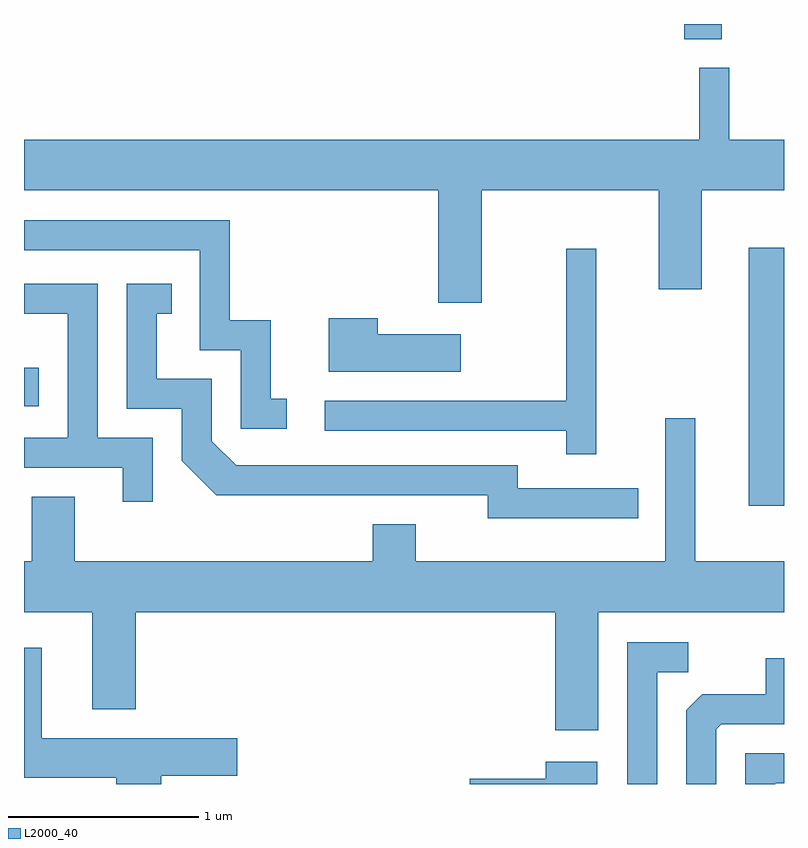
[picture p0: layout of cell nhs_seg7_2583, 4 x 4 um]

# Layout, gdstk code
import gdstk
lib = gdstk.Library(unit=1e-6, precision=1e-09)
def R(c, l, rs):  # rectangles x0, y0, x1, y1
    for r in rs: c.add(gdstk.rectangle(r[:2], r[2:], *l))
def P(c, l, *ps):  # polygons
    for p in ps: c.add(gdstk.Polygon(p, *l))
L2000_40 = (2000, 40)

nhs_seg7_2583 = lib.new_cell('nhs_seg7_2583')
R(nhs_seg7_2583, L2000_40, [(267.426,1763.716,267.611,1765.074), (263.611,1764.241,263.689,1764.444), (267.086,1766.171,267.284,1766.252)])
P(nhs_seg7_2583, L2000_40, [(266.019,1765.376),(266.951,1765.376),(266.951,1764.856),(267.179,1764.856),(267.179,1765.376),(267.611,1765.376),(267.611,1765.644),(267.324,1765.644),(267.324,1766.023),(267.166,1766.023),(267.166,1765.644),(263.611,1765.644),(263.611,1765.376),(265.791,1765.376),(265.791,1764.786),(266.019,1764.786)],
  [(264.993,1764.279),(264.909,1764.279),(264.909,1764.694),(264.694,1764.694),(264.694,1765.219),(263.611,1765.219),(263.611,1765.061),(264.536,1765.061),(264.536,1764.536),(264.751,1764.536),(264.751,1764.121),(264.993,1764.121)],
  [(266.624,1765.068),(266.466,1765.068),(266.466,1764.269),(265.193,1764.269),(265.193,1764.111),(266.466,1764.111),(266.466,1763.988),(266.624,1763.988)],
  [(266.843,1763.809),(266.209,1763.809),(266.209,1763.929),(264.727,1763.929),(264.599,1764.057),(264.599,1764.384),(264.309,1764.384),(264.309,1764.726),(264.388,1764.726),(264.388,1764.884),(264.151,1764.884),(264.151,1764.226),(264.441,1764.226),(264.441,1763.954),(264.624,1763.771),(266.051,1763.771),(266.051,1763.651),(266.843,1763.651)],
  [(264.289,1764.074),(263.999,1764.074),(263.999,1764.884),(263.611,1764.884),(263.611,1764.726),(263.841,1764.726),(263.841,1764.074),(263.611,1764.074),(263.611,1763.916),(264.131,1763.916),(264.131,1763.738),(264.289,1763.738)],
  [(265.909,1764.619),(265.474,1764.619),(265.474,1764.704),(265.216,1764.704),(265.216,1764.421),(265.909,1764.421)],
  [(266.634,1763.156),(267.611,1763.156),(267.611,1763.424),(267.144,1763.424),(267.144,1764.178),(266.986,1764.178),(266.986,1763.424),(265.674,1763.424),(265.674,1763.619),(265.446,1763.619),(265.446,1763.424),(263.879,1763.424),(263.879,1763.764),(263.651,1763.764),(263.651,1763.424),(263.611,1763.424),(263.611,1763.156),(263.971,1763.156),(263.971,1762.646),(264.199,1762.646),(264.199,1763.156),(266.406,1763.156),(266.406,1762.536),(266.634,1762.536)],
  [(266.944,1762.841),(267.108,1762.841),(267.108,1762.999),(266.786,1762.999),(266.786,1762.252),(266.944,1762.252)],
  [(264.334,1762.296),(264.734,1762.296),(264.734,1762.494),(263.704,1762.494),(263.704,1762.968),(263.611,1762.968),(263.611,1762.286),(264.096,1762.286),(264.096,1762.252),(264.334,1762.252)],
  [(267.254,1762.539),(267.282,1762.566),(267.611,1762.566),(267.611,1762.914),(267.516,1762.914),(267.516,1762.724),(267.182,1762.724),(267.096,1762.639),(267.096,1762.252),(267.254,1762.252)],
  [(267.564,1762.256),(267.611,1762.256),(267.611,1762.414),(267.406,1762.414),(267.406,1762.252),(267.564,1762.252)],
  [(266.629,1762.369),(266.356,1762.369),(266.356,1762.279),(265.956,1762.279),(265.956,1762.252),(266.629,1762.252)])

lib.write_gds('nhs_seg7_2583.gds')
